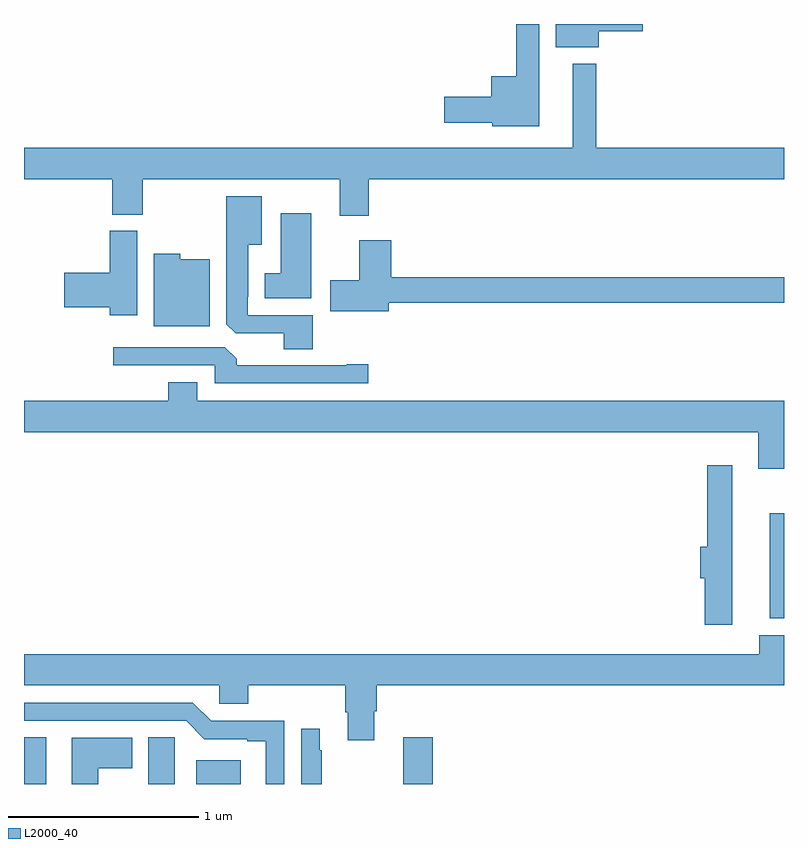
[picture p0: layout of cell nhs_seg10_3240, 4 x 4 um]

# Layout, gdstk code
import gdstk
lib = gdstk.Library(unit=1e-6, precision=1e-09)
def R(c, l, rs):  # rectangles x0, y0, x1, y1
    for r in rs: c.add(gdstk.rectangle(r[:2], r[2:], *l))
def P(c, l, *ps):  # polygons
    for p in ps: c.add(gdstk.Polygon(p, *l))
L2000_40 = (2000, 40)

nhs_seg10_3240 = lib.new_cell('nhs_seg10_3240')
R(nhs_seg10_3240, L2000_40, [(287,1262.5,287.116,1262.747), (287.906,1262.5,288.142,1262.626), (288.997,1262.5,289.151,1262.746), (290.924,1263.372,291,1263.925)])
P(nhs_seg10_3240, L2000_40, [(289.711,1266.5),(289.59,1266.5),(289.59,1266.226),(289.46,1266.226),(289.46,1266.116),(289.212,1266.116),(289.212,1265.981),(289.464,1265.981),(289.464,1265.963),(289.711,1265.963)],
  [(290.026,1266.461),(290.257,1266.461),(290.257,1266.5),(289.799,1266.5),(289.799,1266.377),(290.026,1266.377)],
  [(288.815,1265.684),(291,1265.684),(291,1265.848),(290.011,1265.848),(290.011,1266.292),(289.889,1266.292),(289.889,1265.848),(287,1265.848),(287,1265.684),(287.465,1265.684),(287.465,1265.497),(287.625,1265.497),(287.625,1265.684),(288.662,1265.684),(288.662,1265.49),(288.815,1265.49)],
  [(288.521,1264.968),(288.177,1264.968),(288.177,1265.065),(288.181,1265.065),(288.181,1265.339),(288.25,1265.339),(288.25,1265.593),(288.065,1265.593),(288.065,1264.921),(288.114,1264.872),(288.368,1264.872),(288.368,1264.789),(288.521,1264.789)],
  [(288.511,1265.503),(288.35,1265.503),(288.35,1265.188),(288.266,1265.188),(288.266,1265.057),(288.511,1265.057)],
  [(287.596,1265.412),(287.45,1265.412),(287.45,1265.192),(287.211,1265.192),(287.211,1265.009),(287.45,1265.009),(287.45,1264.968),(287.596,1264.968)],
  [(288.919,1265.032),(291,1265.032),(291,1265.168),(288.932,1265.168),(288.932,1265.362),(288.764,1265.362),(288.764,1265.151),(288.612,1265.151),(288.612,1264.988),(288.919,1264.988)],
  [(287.977,1265.263),(287.823,1265.263),(287.823,1265.29),(287.684,1265.29),(287.684,1264.91),(287.977,1264.91)],
  [(288.811,1264.709),(288.698,1264.709),(288.698,1264.704),(288.119,1264.704),(288.119,1264.738),(288.057,1264.8),(287.469,1264.8),(287.469,1264.704),(288.003,1264.704),(288.003,1264.608),(288.811,1264.608)],
  [(291,1264.516),(287.911,1264.516),(287.911,1264.615),(287.759,1264.615),(287.759,1264.516),(287,1264.516),(287,1264.352),(290.864,1264.352),(290.864,1264.158),(291,1264.158)],
  [(290.728,1264.177),(290.597,1264.177),(290.597,1263.749),(290.558,1263.749),(290.558,1263.582),(290.582,1263.582),(290.582,1263.338),(290.728,1263.338)],
  [(288.844,1262.883),(288.857,1262.883),(288.857,1263.02),(291,1263.02),(291,1263.283),(290.87,1263.283),(290.87,1263.184),(287,1263.184),(287,1263.02),(288.027,1263.02),(288.027,1262.922),(288.179,1262.922),(288.179,1263.02),(288.692,1263.02),(288.692,1262.878),(288.704,1262.878),(288.704,1262.73),(288.844,1262.73)],
  [(288.369,1262.832),(287.985,1262.832),(287.889,1262.928),(287,1262.928),(287,1262.832),(287.853,1262.832),(287.949,1262.736),(288.176,1262.736),(288.176,1262.724),(288.272,1262.724),(288.272,1262.5),(288.369,1262.5)],
  [(288.568,1262.678),(288.556,1262.678),(288.556,1262.791),(288.459,1262.791),(288.459,1262.5),(288.568,1262.5)],
  [(287.794,1262.636),(287.793,1262.636),(287.793,1262.747),(287.654,1262.747),(287.654,1262.5),(287.794,1262.5)],
  [(287.392,1262.584),(287.569,1262.584),(287.569,1262.743),(287.252,1262.743),(287.252,1262.5),(287.392,1262.5)])

lib.write_gds('nhs_seg10_3240.gds')
